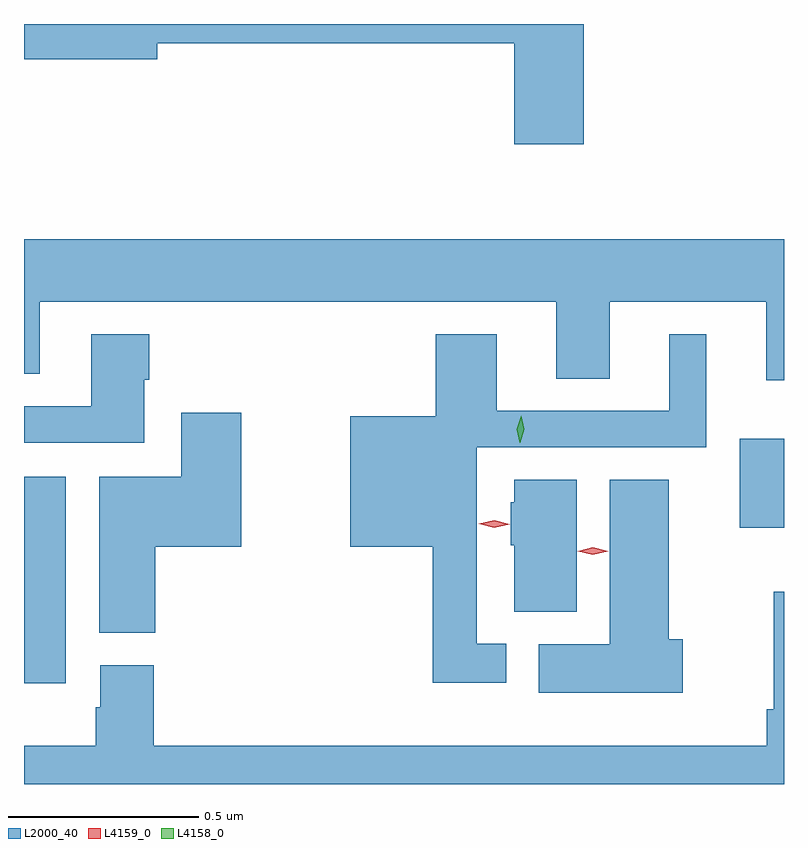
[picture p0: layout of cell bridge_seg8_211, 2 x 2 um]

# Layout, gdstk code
import gdstk
lib = gdstk.Library(unit=1e-6, precision=1e-09)
def R(c, l, rs):  # rectangles x0, y0, x1, y1
    for r in rs: c.add(gdstk.rectangle(r[:2], r[2:], *l))
def P(c, l, *ps):  # polygons
    for p in ps: c.add(gdstk.Polygon(p, *l))
L2000_40 = (2000, 40)
L4158_0 = (4158, 0)
L4159_0 = (4159, 0)

bridge_seg8_211 = lib.new_cell('bridge_seg8_211')
R(bridge_seg8_211, L2000_40, [(158.714,1106.172,158.824,1106.716), (160.598,1106.582,160.714,1106.815)])
P(bridge_seg8_211, L2000_40, [(160.187,1107.907),(158.714,1107.907),(158.714,1107.814),(159.064,1107.814),(159.064,1107.856),(160.004,1107.856),(160.004,1107.591),(160.187,1107.591)],
  [(160.714,1107.34),(158.714,1107.34),(158.714,1106.986),(158.755,1106.986),(158.755,1107.176),(160.115,1107.176),(160.115,1106.974),(160.255,1106.974),(160.255,1107.176),(160.667,1107.176),(160.667,1106.97),(160.714,1106.97)],
  [(159.983,1106.276),(159.906,1106.276),(159.906,1106.793),(160.51,1106.793),(160.51,1107.091),(160.412,1107.091),(160.412,1106.889),(159.958,1106.889),(159.958,1107.091),(159.797,1107.091),(159.797,1106.875),(159.572,1106.875),(159.572,1106.531),(159.79,1106.531),(159.79,1106.174),(159.983,1106.174)],
  [(159.031,1106.971),(159.044,1106.971),(159.044,1107.091),(158.891,1107.091),(158.891,1106.901),(158.714,1106.901),(158.714,1106.805),(159.031,1106.805)],
  [(159.059,1106.531),(159.286,1106.531),(159.286,1106.884),(159.128,1106.884),(159.128,1106.716),(158.912,1106.716),(158.912,1106.305),(159.059,1106.305)],
  [(160.447,1106.288),(160.411,1106.288),(160.411,1106.708),(160.256,1106.708),(160.256,1106.275),(160.068,1106.275),(160.068,1106.147),(160.447,1106.147)],
  [(160.168,1106.708),(160.004,1106.708),(160.004,1106.649),(159.995,1106.649),(159.995,1106.535),(160.004,1106.535),(160.004,1106.36),(160.168,1106.36)],
  [(160.714,1106.413),(160.687,1106.413),(160.687,1106.104),(160.669,1106.104),(160.669,1106.008),(159.056,1106.008),(159.056,1106.22),(158.915,1106.22),(158.915,1106.109),(158.903,1106.109),(158.903,1106.008),(158.714,1106.008),(158.714,1105.907),(160.714,1105.907)])
P(bridge_seg8_211, L4158_0, [(160.019,1106.805),(160.011,1106.841),(160.022,1106.876),(160.022,1106.876),(160.023,1106.876),(160.031,1106.84),(160.02,1106.805),(160.02,1106.805)])
P(bridge_seg8_211, L4159_0, [(160.211,1106.51),(160.171,1106.52),(160.171,1106.52),(160.171,1106.52),(160.211,1106.53),(160.252,1106.52),(160.252,1106.52),(160.252,1106.52)],
  [(159.951,1106.581),(159.911,1106.592),(159.91,1106.592),(159.911,1106.592),(159.952,1106.601),(159.992,1106.591),(159.992,1106.59),(159.992,1106.59)])

lib.write_gds('bridge_seg8_211.gds')
